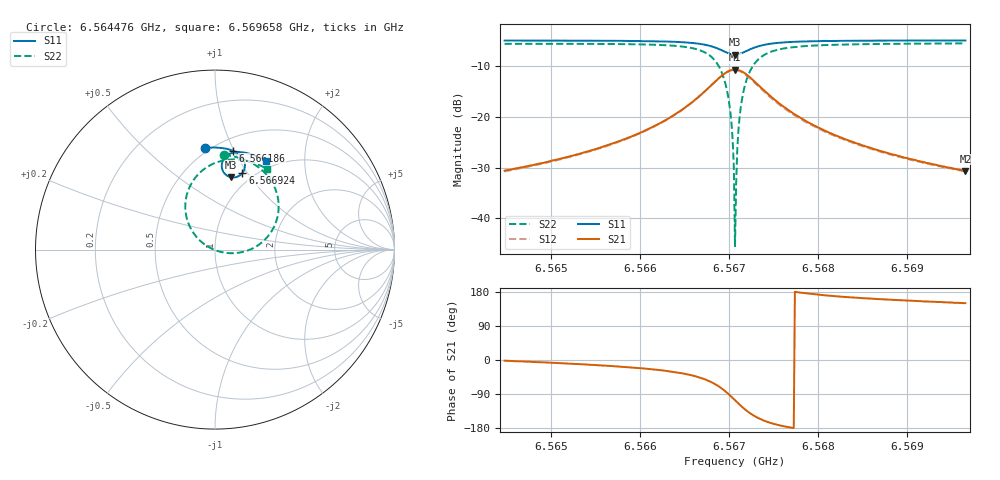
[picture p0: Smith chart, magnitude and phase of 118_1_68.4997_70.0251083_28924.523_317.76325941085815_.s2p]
#  HZ  S  RI  R  50.00
! Rohde & Schwarz Vector Network Analyzer
! Rohde-Schwarz,ZNB20-2Port,1311601062101988,3.16
! Created: UTC 3/20/2024, 4:53:50 PM
! freq[Hz]  re:S11  im:S11  re:S21  im:S21  re:S12  im:S12  re:S22  im:S22
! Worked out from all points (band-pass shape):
!   401 points, 6.564476 GHz to 6.569658 GHz, reference 50 ohm
!   highest |S21| = -10.63 dB at 6.567067 GHz (marker M1); lowest = -30.7 dB at 6.569658 GHz (marker M2)
!   |S21| within 3 dB of the highest: 6.566807 GHz to 6.567326 GHz (518.9 kHz wide, 0.0079 % of centre)
!   lowest |S11| = -7.7 dB at 6.567067 GHz (marker M3), VSWR 2.41, Z = 41.7 + j40.6 ohm
!   |S11| at or under -10 dB: nowhere
!   |S22| runs from -45.5 to -5.4 dB; largest |S21 - S12| = 0.014
!   S11 on the Smith chart (normalised r, x): 6.564476 GHz: 0.47, +0.79; 6.566186 GHz: 0.62, +0.99; 6.566924 GHz: 0.88, +0.95; 6.569658 GHz: 0.89, +1.31
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6.5644757e9  -0.053 0.5668  0.0294 -0.000859  0.0289 -0.00135  0.0492 0.5263
6.5653438e9  0.0188 0.5679  0.0431 -0.00865  0.0425 -0.00933  0.1335 0.5112
6.566186e9  0.0994 0.5514  0.0752 -0.0362  0.074 -0.0371  0.25 0.4528
6.5662119e9  0.1023 0.5503  0.0769 -0.0379  0.0756 -0.0391  0.2548 0.4491
6.5667172e9  0.1621 0.4945  0.113 -0.1347  0.1102 -0.1376  0.3541 0.2609
6.5668338e9  0.1664 0.4604  0.1014 -0.1944  0.0964 -0.1982  0.3376 0.147
6.5669245e9  0.1531 0.4273  0.061 -0.2509  0.052 -0.2541  0.2631 0.0417
6.5670022e9  0.1226 0.4054  -0.00832 -0.2856  -0.021 -0.2846  0.1346 -0.0172
6.5670281e9  0.109 0.4024  -0.0373 -0.2886  -0.0504 -0.2857  0.0824 -0.0201
6.5670411e9  0.1018 0.402  -0.0521 -0.2881  -0.0652 -0.2839  0.0556 -0.0174
6.567054e9  0.0947 0.4024  -0.0671 -0.286  -0.0801 -0.2807  0.0293 -0.0121
6.567067e9  0.0876 0.4037  -0.0818 -0.2826  -0.0945 -0.2761  0.00342 -0.00402
6.5670929e9  0.0741 0.4084  -0.11 -0.2711  -0.1214 -0.2625  -0.0444 0.0197
6.5671059e9  0.0677 0.4118  -0.1227 -0.2636  -0.1336 -0.2542  -0.0659 0.0349
6.5671188e9  0.0621 0.4159  -0.1346 -0.255  -0.1446 -0.2446  -0.0854 0.0517
6.5671447e9  0.0524 0.4254  -0.1549 -0.2351  -0.163 -0.2236  -0.1181 0.0896
6.5671966e9  0.0403 0.4478  -0.1814 -0.1906  -0.1854 -0.1782  -0.1566 0.1716
6.5672613e9  0.038 0.4751  -0.1912 -0.1371  -0.1914 -0.1261  -0.1641 0.2659
6.5675075e9  0.0763 0.5303  -0.1467 -0.0288  -0.1432 -0.0244  -0.0613 0.4481
6.5679351e9  0.1391 0.5433  -0.084 0.00873  -0.0819 0.0101  0.0785 0.5013
6.5688032e9  0.2219 0.5244  -0.0406 0.0154  -0.0398 0.0158  0.2099 0.4849
6.5696583e9  0.2862 0.4942  -0.0254 0.0146  -0.0249 0.0148  0.2876 0.4504
